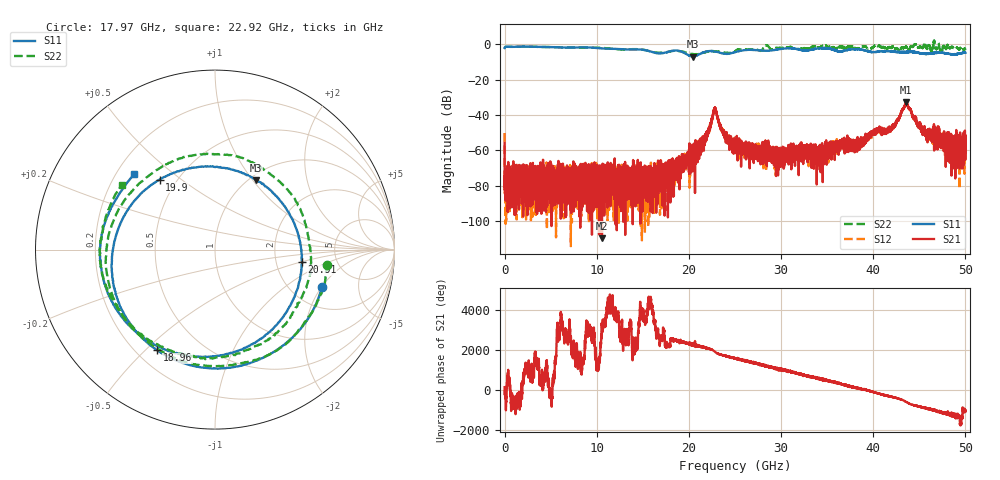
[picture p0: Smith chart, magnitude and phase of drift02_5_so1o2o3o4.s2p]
!Created with skrf (http://scikit-rf.org).
# Hz S RI R 50.0
!freq ReS11 ImS11 ReS21 ImS21 ReS12 ImS12 ReS22 ImS22
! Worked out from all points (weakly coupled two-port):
!   10001 points, 300 kHz to 50 GHz, reference 50 ohm
!   highest |S21| = -32.84 dB at 43.59 GHz (marker M1); lowest = -109.7 dB at 10.57 GHz (marker M2)
!   lowest |S11| = -7.0 dB at 20.4 GHz (marker M3), VSWR 2.63, Z = 53.8 + j51.9 ohm
!   |S11| at or under -10 dB: nowhere
!   |S22| runs from -5.7 to 2.1 dB; largest |S21 - S12| = 0.004
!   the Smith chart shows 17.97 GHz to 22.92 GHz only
!   S11 on the Smith chart (normalised r, x): 17.97 GHz: 2.90, -2.01; 18.96 GHz: 0.28, -0.54; 19.9 GHz: 0.40, +0.42; 20.91 GHz: 2.80, -0.51; 22.92 GHz: 0.27, +0.37
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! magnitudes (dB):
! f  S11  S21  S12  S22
! 300 kHz  -2.1  -55.7  -50.1  -2.1
! 255.3 MHz  -1.4  -76.7  -72.0  -1.4
! 340.3 MHz  -1.4  -94.9  -80.2  -1.4
! 8.335 GHz  -1.7  -81.5  -74.8  -1.9
! 10.57 GHz  -2.3  -109.7  -77.3  -2.1
! 16.67 GHz  -5.2  -71.9  -72.5  -4.8
! 17.97 GHz  -4.0  -67.7  -75.2  -4.1
! 18.96 GHz  -3.8  -68.4  -66.7  -3.9
! 19.9 GHz  -6.1  -66.9  -62.9  -5.1
! 20.4 GHz  -7.0  -66.1  -64.4  -5.5
! 20.91 GHz  -6.2  -62.3  -61.3  -5.6
! 22.92 GHz  -4.2  -37.5  -37.0  -4.0
! 23.72 GHz  -5.3  -51.2  -49.9  -4.6
! 25 GHz  -4.5  -57.3  -54.3  -3.9
! 29.59 GHz  -3.1  -63.5  -61.1  -2.1
! 33.34 GHz  -3.0  -59.1  -60.5  -1.5
! 41.67 GHz  -4.0  -48.2  -48.1  -1.9
! 43.59 GHz  -4.7  -32.8  -33.5  -1.5
! 45.67 GHz  -5.4  -49.8  -50.0  -0.5
! 48.71 GHz  -5.6  -55.8  -53.3  -2.1
! 49.63 GHz  -5.0  -62.5  -66.8  -1.6
! 50 GHz  -4.8  -51.9  -54.7  -2.6
